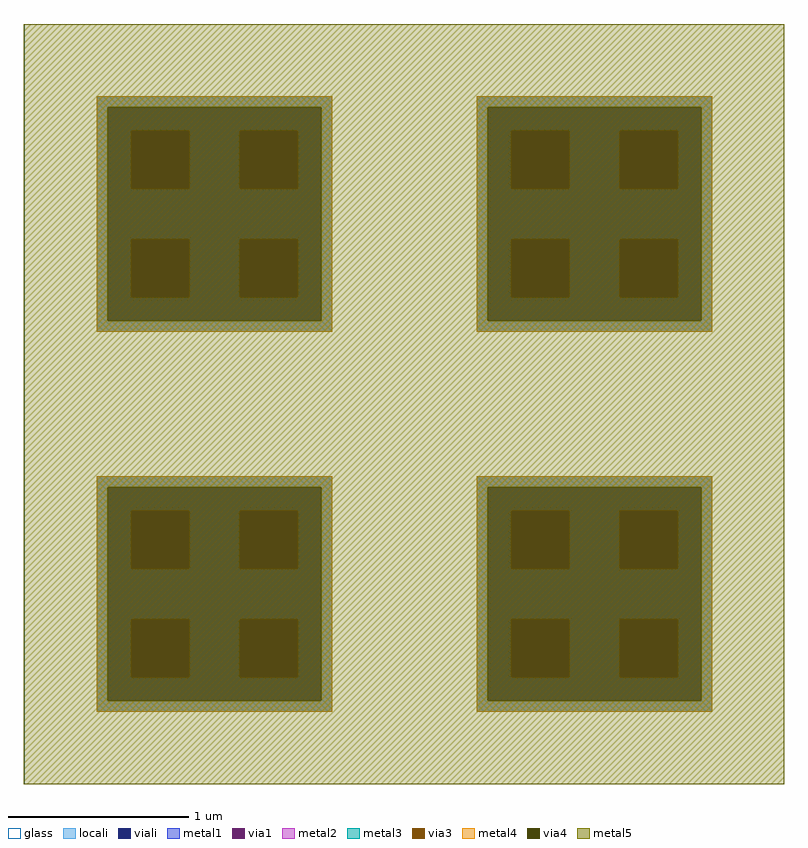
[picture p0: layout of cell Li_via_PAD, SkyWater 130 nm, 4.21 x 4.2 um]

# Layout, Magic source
magic
tech sky130A
magscale 1 2
<< locali >>
rect -3018 7829 -2758 8089
rect -2598 7829 -2338 8089
rect -3018 7409 -2758 7669
rect -2598 7409 -2338 7669
<< via4 >>
rect -3006 7841 -2770 8077
rect -2586 7841 -2350 8077
rect -3006 7421 -2770 7657
rect -2586 7421 -2350 7657
<< metal5 >>
rect -3099 8077 -2258 8169
rect -3099 7841 -3006 8077
rect -2770 7841 -2586 8077
rect -2350 7841 -2258 8077
rect -3099 7657 -2258 7841
rect -3099 7421 -3006 7657
rect -2770 7421 -2586 7657
rect -2350 7421 -2258 7657
rect -3099 7329 -2258 7421
<< glass >>
rect -3098 7329 -2258 8169
use M1_vias_M4$1  M1_vias_M4$1_0
transform 1 0 -2118 0 1 7579
box -480 -170 -220 90
use M1_vias_M4$1  M1_vias_M4$1_1
transform 1 0 -2538 0 1 7579
box -480 -170 -220 90
use M1_vias_M4$1  M1_vias_M4$1_2
transform 1 0 -2118 0 1 7999
box -480 -170 -220 90
use M1_vias_M4$1  M1_vias_M4$1_3
transform 1 0 -2538 0 1 7999
box -480 -170 -220 90
use M1_vias_M4$1  M1_vias_M4$1_4
transform 1 0 -2118 0 1 7579
box -480 -170 -220 90
use M1_vias_M4$1  M1_vias_M4$1_5
transform 1 0 -2538 0 1 7579
box -480 -170 -220 90
use M1_vias_M4$1  M1_vias_M4$1_6
transform 1 0 -2118 0 1 7999
box -480 -170 -220 90
use M1_vias_M4$1  M1_vias_M4$1_7
transform 1 0 -2538 0 1 7999
box -480 -170 -220 90
<< end >>

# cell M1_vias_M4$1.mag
magic
tech sky130A
magscale 1 2
<< locali >>
rect -450 37 -370 60
rect -450 3 -427 37
rect -393 3 -370 37
rect -450 -20 -370 3
rect -330 37 -250 60
rect -330 3 -307 37
rect -273 3 -250 37
rect -330 -20 -250 3
rect -450 -83 -370 -60
rect -450 -117 -427 -83
rect -393 -117 -370 -83
rect -450 -140 -370 -117
rect -330 -83 -250 -60
rect -330 -117 -307 -83
rect -273 -117 -250 -83
rect -330 -140 -250 -117
<< viali >>
rect -427 3 -393 37
rect -307 3 -273 37
rect -427 -117 -393 -83
rect -307 -117 -273 -83
<< metal1 >>
rect -480 46 -220 90
rect -480 -6 -436 46
rect -384 -6 -316 46
rect -264 -6 -220 46
rect -480 -74 -220 -6
rect -480 -126 -436 -74
rect -384 -126 -316 -74
rect -264 -126 -220 -74
rect -480 -170 -220 -126
<< via1 >>
rect -436 37 -384 46
rect -436 3 -427 37
rect -427 3 -393 37
rect -393 3 -384 37
rect -436 -6 -384 3
rect -316 37 -264 46
rect -316 3 -307 37
rect -307 3 -273 37
rect -273 3 -264 37
rect -316 -6 -264 3
rect -436 -83 -384 -74
rect -436 -117 -427 -83
rect -427 -117 -393 -83
rect -393 -117 -384 -83
rect -436 -126 -384 -117
rect -316 -83 -264 -74
rect -316 -117 -307 -83
rect -307 -117 -273 -83
rect -273 -117 -264 -83
rect -316 -126 -264 -117
<< metal2 >>
rect -480 46 -220 90
rect -480 -6 -436 46
rect -384 -6 -316 46
rect -264 -6 -220 46
rect -480 -74 -220 -6
rect -480 -126 -436 -74
rect -384 -126 -316 -74
rect -264 -126 -220 -74
rect -480 -170 -220 -126
<< metal3 >>
rect -480 52 -220 90
rect -480 -12 -442 52
rect -378 -12 -322 52
rect -258 -12 -220 52
rect -480 -68 -220 -12
rect -480 -132 -442 -68
rect -378 -132 -322 -68
rect -258 -132 -220 -68
rect -480 -170 -220 -132
<< via3 >>
rect -442 -12 -378 52
rect -322 -12 -258 52
rect -442 -132 -378 -68
rect -322 -132 -258 -68
<< metal4 >>
rect -480 52 -220 90
rect -480 -12 -442 52
rect -378 -12 -322 52
rect -258 -12 -220 52
rect -480 -68 -220 -12
rect -480 -132 -442 -68
rect -378 -132 -322 -68
rect -258 -132 -220 -68
rect -480 -170 -220 -132
<< end >>
